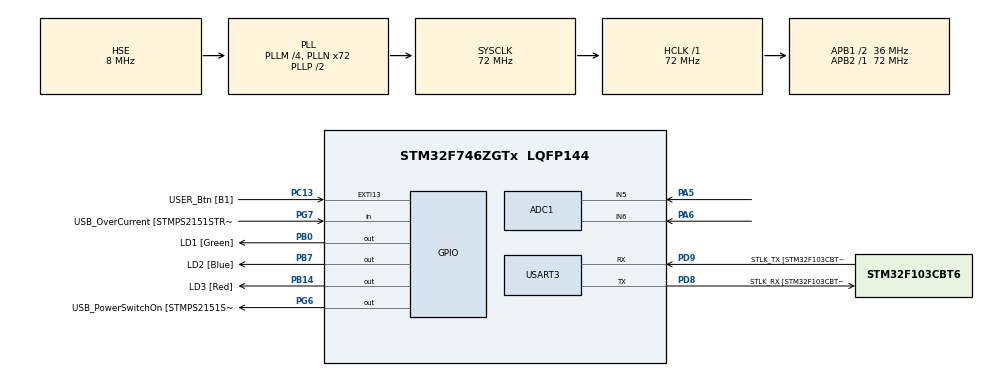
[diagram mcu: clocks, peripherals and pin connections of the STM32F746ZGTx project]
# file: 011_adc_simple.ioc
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ADC1.Channel-1\#ChannelRegularConversion=ADC_CHANNEL_5
ADC1.Channel-2\#ChannelRegularConversion=ADC_CHANNEL_6
ADC1.Channel-4\#ChannelRegularConversion=ADC_CHANNEL_TEMPSENSOR
ADC1.ContinuousConvMode=DISABLE
ADC1.DiscontinuousConvMode=ENABLE
ADC1.EOCSelection=ADC_EOC_SINGLE_CONV
ADC1.InjNumberOfConversion=0
ADC1.NbrOfConversion=3
ADC1.NbrOfConversionFlag=1
ADC1.Rank-1\#ChannelRegularConversion=1
ADC1.Rank-2\#ChannelRegularConversion=2
ADC1.Rank-4\#ChannelRegularConversion=3
ADC1.SamplingTime-1\#ChannelRegularConversion=ADC_SAMPLETIME_3CYCLES
ADC1.SamplingTime-2\#ChannelRegularConversion=ADC_SAMPLETIME_3CYCLES
ADC1.SamplingTime-4\#ChannelRegularConversion=ADC_SAMPLETIME_480CYCLES
ADC1.master=1
Mcu.Family=STM32F7
Mcu.Name=STM32F746ZGTx
Mcu.Package=LQFP144
NVIC.PriorityGroup=NVIC_PRIORITYGROUP_4
PA1.GPIO_Label=RMII_REF_CLK [LAN8742A-CZ-TR_REFCLK0]
PA1.Signal=ETH_REF_CLK
PA10.GPIO_Label=USB_ID
PA10.Signal=USB_OTG_FS_ID
PA11.GPIO_Label=USB_DM
PA11.Signal=USB_OTG_FS_DM
PA12.GPIO_Label=USB_DP
PA12.Signal=USB_OTG_FS_DP
PA13.GPIO_Label=TMS
PA13.Mode=Serial_Wire
PA13.Signal=SYS_JTMS-SWDIO
PA14.GPIO_Label=TCK
PA14.Mode=Serial_Wire
PA14.Signal=SYS_JTCK-SWCLK
PA2.GPIO_Label=RMII_MDIO [LAN8742A-CZ-TR_MDIO]
PA2.Signal=ETH_MDIO
PA5.Signal=ADCx_IN5
PA6.Signal=ADCx_IN6
PA7.GPIO_Label=RMII_CRS_DV [LAN8742A-CZ-TR_CRS_DV]
PA7.Signal=ETH_CRS_DV
PA8.GPIO_Label=USB_SOF [TP1]
PA8.Signal=USB_OTG_FS_SOF
PA9.GPIO_Label=USB_VBUS
PA9.Signal=USB_OTG_FS_VBUS
PB0.GPIO_Label=LD1 [Green]
PB0.Signal=GPIO_Output
PB13.GPIO_Label=RMII_TXD1 [LAN8742A-CZ-TR_TXD1]
PB13.Signal=ETH_TXD1
PB14.GPIO_Label=LD3 [Red]
PB14.Signal=GPIO_Output
PB3.GPIO_Label=SW0
PB3.Signal=SYS_JTDO-SWO
PB7.GPIO_Label=LD2 [Blue]
PB7.Signal=GPIO_Output
PC1.GPIO_Label=RMII_MDC [LAN8742A-CZ-TR_MDC]
PC1.Signal=ETH_MDC
PC13.GPIO_Label=USER_Btn [B1]
PC13.Signal=GPXTI13
PC14/OSC32_IN.Mode=LSE-External-Oscillator
PC14/OSC32_IN.Signal=RCC_OSC32_IN
PC15/OSC32_OUT.Mode=LSE-External-Oscillator
PC15/OSC32_OUT.Signal=RCC_OSC32_OUT
PC4.GPIO_Label=RMII_RXD0 [LAN8742A-CZ-TR_RXD0]
PC4.Signal=ETH_RXD0
PC5.GPIO_Label=RMII_RXD1 [LAN8742A-CZ-TR_RXD1]
PC5.Signal=ETH_RXD1
PD8.GPIO_Label=STLK_RX [STM32F103CBT6_PA3]
PD8.Mode=Asynchronous
PD8.Signal=USART3_TX
PD9.GPIO_Label=STLK_TX [STM32F103CBT6_PA2]
PD9.Mode=Asynchronous
PD9.Signal=USART3_RX
PG11.GPIO_Label=RMII_TX_EN [LAN8742A-CZ-TR_TXEN]
PG11.Signal=ETH_TX_EN
PG13.GPIO_Label=RMII_TXD0 [LAN8742A-CZ-TR_TXD0]
PG13.Signal=ETH_TXD0
PG6.GPIO_Label=USB_PowerSwitchOn [STMPS2151STR_EN]
PG6.Signal=GPIO_Output
PG7.GPIO_Label=USB_OverCurrent [STMPS2151STR_FAULT]
PG7.Signal=GPIO_Input
PH0/OSC_IN.GPIO_Label=MCO [STM32F103CBT6_PA8]
PH0/OSC_IN.Mode=HSE-External-Clock-Source
PH0/OSC_IN.Signal=RCC_OSC_IN
PH1/OSC_OUT.Mode=HSE-External-Clock-Source
PH1/OSC_OUT.Signal=RCC_OSC_OUT
ProjectManager.HeapSize=0x200
ProjectManager.StackSize=0x400
ProjectManager.TargetToolchain=STM32CubeIDE
RCC.48MHZClocksFreq_Value=24000000
RCC.AHBFreq_Value=72000000
RCC.APB1CLKDivider=RCC_HCLK_DIV2
RCC.APB1Freq_Value=36000000
RCC.APB1TimFreq_Value=72000000
RCC.APB2Freq_Value=72000000
RCC.APB2TimFreq_Value=72000000
RCC.CortexFreq_Value=72000000
RCC.HCLKFreq_Value=72000000
RCC.HSE_VALUE=8000000
RCC.HSI_VALUE=16000000
RCC.PLLM=4
RCC.PLLMUL=RCC_PLL_MUL9
RCC.PLLN=72
RCC.PLLQ=3
RCC.PLLSourceVirtual=RCC_PLLSOURCE_HSE
RCC.PRESCALERUSB=RCC_USBCLKSOURCE_PLL_DIV1_5
RCC.SYSCLKFreq_VALUE=72000000
RCC.SYSCLKSource=RCC_SYSCLKSOURCE_PLLCLK
RCC.SYSCLKSourceVirtual=RCC_SYSCLKSOURCE_PLLCLK
RCC.USBFreq_Value=48000000
RCC.VCOOutputFreq_Value=144000000
SH.ADCx_IN5.0=ADC1_IN5,IN5
SH.ADCx_IN6.0=ADC1_IN6,IN6
USART3.VirtualMode-Asynchronous=VM_ASYNC
VP_ADC1_TempSens_Input.Mode=IN-TempSens
board=NUCLEO-F746ZG

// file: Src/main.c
/* USER CODE BEGIN Header */
/**
  ******************************************************************************
  * @file           : main.c
  * @brief          : Main program body
  ******************************************************************************
  * @attention
  *
  * <h2><center>&copy; Copyright (c) 2020 STMicroelectronics.
  * All rights reserved.</center></h2>
  *
  * This software component is licensed by ST under BSD 3-Clause license,
  * the "License"; You may not use this file except in compliance with the
  * License. You may obtain a copy of the License at:
  *                        opensource.org/licenses/BSD-3-Clause
  *
  ******************************************************************************
  */
/* USER CODE END Header */
#include "main.h"

/* USER CODE BEGIN Includes */
#include <string.h>
#include <stdio.h>
/* USER CODE END Includes */

ADC_HandleTypeDef hadc1;

UART_HandleTypeDef huart3;

void SystemClock_Config(void);
static void MX_GPIO_Init(void);
static void MX_ADC1_Init(void);
static void MX_USART3_UART_Init(void);

int main(void)
{

  /* MCU Configuration--------------------------------------------------------*/

  /* Reset of all peripherals, Initializes the Flash interface and the Systick. */
  HAL_Init();

  /* Configure the system clock */
  SystemClock_Config();

  /* Initialize all configured peripherals */
  MX_GPIO_Init();
  MX_ADC1_Init();
  MX_USART3_UART_Init();

  /* Infinite loop */
  while (1)
  {

    /* USER CODE BEGIN 3 */
    // Note: all setup analog channels will be read in round robin fashion, enable "discontinuous mode"
    //       this is an inferior method to use of DMA and a callback function
    HAL_ADC_Start(&hadc1);
    HAL_ADC_PollForConversion(&hadc1, 10);
    uint32_t raw_result5 = HAL_ADC_GetValue(&hadc1);
    uint32_t ch5_voltage = (raw_result5 * 3300U) / 4095U;
    // Note: 4095 is the constant for 12bit right aligned mode
    HAL_ADC_Start(&hadc1);
    HAL_ADC_PollForConversion(&hadc1, 10);
    uint32_t raw_result6 = HAL_ADC_GetValue(&hadc1);
    uint32_t ch6_voltage = (raw_result6 * 3300U) / 4095U;
    HAL_ADC_Start(&hadc1);
    HAL_ADC_PollForConversion(&hadc1, 10);
    uint32_t raw_temp = HAL_ADC_GetValue(&hadc1);
    uint32_t cht_voltage = (raw_temp * 3300U) / 4095U;
    uint32_t temperature = 25 + (cht_voltage*10 - 7600U) /25; // V25 = 0.76V, avg slope = 2.5mV/C
    HAL_ADC_Stop(&hadc1); // optional, makes sure that you restart channels from the first defined

    char buffer[80];
    sprintf(buffer, "%lu\t%lu\t\t%lu\t%lu\t\t%lu\t%lu\t%lu\r\n",
            raw_result5, ch5_voltage,
            raw_result6, ch6_voltage,
            raw_temp, cht_voltage, temperature);
    HAL_UART_Transmit(&huart3, (void*)buffer, strlen(buffer), 10);
    HAL_Delay(500);
  }
  /* USER CODE END 3 */
}

void SystemClock_Config(void)
{
  RCC_OscInitTypeDef RCC_OscInitStruct = {0};
  RCC_ClkInitTypeDef RCC_ClkInitStruct = {0};

  /** Configure LSE Drive Capability
  */
  HAL_PWR_EnableBkUpAccess();
  /** Configure the main internal regulator output voltage
  */
  __HAL_RCC_PWR_CLK_ENABLE();
  __HAL_PWR_VOLTAGESCALING_CONFIG(PWR_REGULATOR_VOLTAGE_SCALE3);
  /** Initializes the RCC Oscillators according to the specified parameters
  * in the RCC_OscInitTypeDef structure.
  */
  RCC_OscInitStruct.OscillatorType = RCC_OSCILLATORTYPE_HSE;
  RCC_OscInitStruct.HSEState = RCC_HSE_BYPASS;
  RCC_OscInitStruct.PLL.PLLState = RCC_PLL_ON;
  RCC_OscInitStruct.PLL.PLLSource = RCC_PLLSOURCE_HSE;
  RCC_OscInitStruct.PLL.PLLM = 4;
  RCC_OscInitStruct.PLL.PLLN = 72;
  RCC_OscInitStruct.PLL.PLLP = RCC_PLLP_DIV2;
  RCC_OscInitStruct.PLL.PLLQ = 3;
  if (HAL_RCC_OscConfig(&RCC_OscInitStruct) != HAL_OK)
  {
    Error_Handler();
  }
  /** Initializes the CPU, AHB and APB buses clocks
  */
  RCC_ClkInitStruct.ClockType = RCC_CLOCKTYPE_HCLK|RCC_CLOCKTYPE_SYSCLK
                              |RCC_CLOCKTYPE_PCLK1|RCC_CLOCKTYPE_PCLK2;
  RCC_ClkInitStruct.SYSCLKSource = RCC_SYSCLKSOURCE_PLLCLK;
  RCC_ClkInitStruct.AHBCLKDivider = RCC_SYSCLK_DIV1;
  RCC_ClkInitStruct.APB1CLKDivider = RCC_HCLK_DIV2;
  RCC_ClkInitStruct.APB2CLKDivider = RCC_HCLK_DIV1;

  if (HAL_RCC_ClockConfig(&RCC_ClkInitStruct, FLASH_LATENCY_2) != HAL_OK)
  {
    Error_Handler();
  }
}

static void MX_ADC1_Init(void)
{

  ADC_ChannelConfTypeDef sConfig = {0};

  /** Configure the global features of the ADC (Clock, Resolution, Data Alignment and number of conversion)
  */
  hadc1.Instance = ADC1;
  hadc1.Init.ClockPrescaler = ADC_CLOCK_SYNC_PCLK_DIV2;
  hadc1.Init.Resolution = ADC_RESOLUTION_12B;
  hadc1.Init.ScanConvMode = ADC_SCAN_ENABLE;
  hadc1.Init.ContinuousConvMode = DISABLE;
  hadc1.Init.DiscontinuousConvMode = ENABLE;
  hadc1.Init.NbrOfDiscConversion = 1;
  hadc1.Init.ExternalTrigConvEdge = ADC_EXTERNALTRIGCONVEDGE_NONE;
  hadc1.Init.ExternalTrigConv = ADC_SOFTWARE_START;
  hadc1.Init.DataAlign = ADC_DATAALIGN_RIGHT;
  hadc1.Init.NbrOfConversion = 3;
  hadc1.Init.DMAContinuousRequests = DISABLE;
  hadc1.Init.EOCSelection = ADC_EOC_SINGLE_CONV;
  if (HAL_ADC_Init(&hadc1) != HAL_OK)
  {
    Error_Handler();
  }
  /** Configure for the selected ADC regular channel its corresponding rank in the sequencer and its sample time.
  */
  sConfig.Channel = ADC_CHANNEL_5;
  sConfig.Rank = ADC_REGULAR_RANK_1;
  sConfig.SamplingTime = ADC_SAMPLETIME_3CYCLES;
  if (HAL_ADC_ConfigChannel(&hadc1, &sConfig) != HAL_OK)
  {
    Error_Handler();
  }
  /** Configure for the selected ADC regular channel its corresponding rank in the sequencer and its sample time.
  */
  sConfig.Channel = ADC_CHANNEL_6;
  sConfig.Rank = ADC_REGULAR_RANK_2;
  if (HAL_ADC_ConfigChannel(&hadc1, &sConfig) != HAL_OK)
  {
    Error_Handler();
  }
  /** Configure for the selected ADC regular channel its corresponding rank in the sequencer and its sample time.
  */
  sConfig.Channel = ADC_CHANNEL_TEMPSENSOR;
  sConfig.Rank = ADC_REGULAR_RANK_3;
  sConfig.SamplingTime = ADC_SAMPLETIME_480CYCLES;
  if (HAL_ADC_ConfigChannel(&hadc1, &sConfig) != HAL_OK)
  {
    Error_Handler();
  }

}

static void MX_USART3_UART_Init(void)
{

  huart3.Instance = USART3;
  huart3.Init.BaudRate = 115200;
  huart3.Init.WordLength = UART_WORDLENGTH_8B;
  huart3.Init.StopBits = UART_STOPBITS_1;
  huart3.Init.Parity = UART_PARITY_NONE;
  huart3.Init.Mode = UART_MODE_TX_RX;
  huart3.Init.HwFlowCtl = UART_HWCONTROL_NONE;
  huart3.Init.OverSampling = UART_OVERSAMPLING_16;
  huart3.Init.OneBitSampling = UART_ONE_BIT_SAMPLE_DISABLE;
  huart3.AdvancedInit.AdvFeatureInit = UART_ADVFEATURE_NO_INIT;
  if (HAL_UART_Init(&huart3) != HAL_OK)
  {
    Error_Handler();
  }

}

static void MX_GPIO_Init(void)
{
  GPIO_InitTypeDef GPIO_InitStruct = {0};

  /* GPIO Ports Clock Enable */
  __HAL_RCC_GPIOC_CLK_ENABLE();
  __HAL_RCC_GPIOH_CLK_ENABLE();
  __HAL_RCC_GPIOA_CLK_ENABLE();
  __HAL_RCC_GPIOB_CLK_ENABLE();
  __HAL_RCC_GPIOD_CLK_ENABLE();
  __HAL_RCC_GPIOG_CLK_ENABLE();

  /*Configure GPIO pin Output Level */
  HAL_GPIO_WritePin(GPIOB, LD1_Pin|LD3_Pin|LD2_Pin, GPIO_PIN_RESET);

  /*Configure GPIO pin Output Level */
  HAL_GPIO_WritePin(USB_PowerSwitchOn_GPIO_Port, USB_PowerSwitchOn_Pin, GPIO_PIN_RESET);

  /*Configure GPIO pin : USER_Btn_Pin */
  GPIO_InitStruct.Pin = USER_Btn_Pin;
  GPIO_InitStruct.Mode = GPIO_MODE_IT_RISING;
  GPIO_InitStruct.Pull = GPIO_NOPULL;
  HAL_GPIO_Init(USER_Btn_GPIO_Port, &GPIO_InitStruct);

  /*Configure GPIO pins : RMII_MDC_Pin RMII_RXD0_Pin RMII_RXD1_Pin */
  GPIO_InitStruct.Pin = RMII_MDC_Pin|RMII_RXD0_Pin|RMII_RXD1_Pin;
  GPIO_InitStruct.Mode = GPIO_MODE_AF_PP;
  GPIO_InitStruct.Pull = GPIO_NOPULL;
  GPIO_InitStruct.Speed = GPIO_SPEED_FREQ_VERY_HIGH;
  GPIO_InitStruct.Alternate = GPIO_AF11_ETH;
  HAL_GPIO_Init(GPIOC, &GPIO_InitStruct);

  /*Configure GPIO pins : RMII_REF_CLK_Pin RMII_MDIO_Pin RMII_CRS_DV_Pin */
  GPIO_InitStruct.Pin = RMII_REF_CLK_Pin|RMII_MDIO_Pin|RMII_CRS_DV_Pin;
  GPIO_InitStruct.Mode = GPIO_MODE_AF_PP;
  GPIO_InitStruct.Pull = GPIO_NOPULL;
  GPIO_InitStruct.Speed = GPIO_SPEED_FREQ_VERY_HIGH;
  GPIO_InitStruct.Alternate = GPIO_AF11_ETH;
  HAL_GPIO_Init(GPIOA, &GPIO_InitStruct);

  /*Configure GPIO pins : LD1_Pin LD3_Pin LD2_Pin */
  GPIO_InitStruct.Pin = LD1_Pin|LD3_Pin|LD2_Pin;
  GPIO_InitStruct.Mode = GPIO_MODE_OUTPUT_PP;
  GPIO_InitStruct.Pull = GPIO_NOPULL;
  GPIO_InitStruct.Speed = GPIO_SPEED_FREQ_LOW;
  HAL_GPIO_Init(GPIOB, &GPIO_InitStruct);

  /*Configure GPIO pin : RMII_TXD1_Pin */
  GPIO_InitStruct.Pin = RMII_TXD1_Pin;
  GPIO_InitStruct.Mode = GPIO_MODE_AF_PP;
  GPIO_InitStruct.Pull = GPIO_NOPULL;
  GPIO_InitStruct.Speed = GPIO_SPEED_FREQ_VERY_HIGH;
  GPIO_InitStruct.Alternate = GPIO_AF11_ETH;
  HAL_GPIO_Init(RMII_TXD1_GPIO_Port, &GPIO_InitStruct);

  /*Configure GPIO pin : USB_PowerSwitchOn_Pin */
  GPIO_InitStruct.Pin = USB_PowerSwitchOn_Pin;
  GPIO_InitStruct.Mode = GPIO_MODE_OUTPUT_PP;
  GPIO_InitStruct.Pull = GPIO_NOPULL;
  GPIO_InitStruct.Speed = GPIO_SPEED_FREQ_LOW;
  HAL_GPIO_Init(USB_PowerSwitchOn_GPIO_Port, &GPIO_InitStruct);

  /*Configure GPIO pin : USB_OverCurrent_Pin */
  GPIO_InitStruct.Pin = USB_OverCurrent_Pin;
  GPIO_InitStruct.Mode = GPIO_MODE_INPUT;
  GPIO_InitStruct.Pull = GPIO_NOPULL;
  HAL_GPIO_Init(USB_OverCurrent_GPIO_Port, &GPIO_InitStruct);

  /*Configure GPIO pins : USB_SOF_Pin USB_ID_Pin USB_DM_Pin USB_DP_Pin */
  GPIO_InitStruct.Pin = USB_SOF_Pin|USB_ID_Pin|USB_DM_Pin|USB_DP_Pin;
  GPIO_InitStruct.Mode = GPIO_MODE_AF_PP;
  GPIO_InitStruct.Pull = GPIO_NOPULL;
  GPIO_InitStruct.Speed = GPIO_SPEED_FREQ_VERY_HIGH;
  GPIO_InitStruct.Alternate = GPIO_AF10_OTG_FS;
  HAL_GPIO_Init(GPIOA, &GPIO_InitStruct);

  /*Configure GPIO pin : USB_VBUS_Pin */
  GPIO_InitStruct.Pin = USB_VBUS_Pin;
  GPIO_InitStruct.Mode = GPIO_MODE_INPUT;
  GPIO_InitStruct.Pull = GPIO_NOPULL;
  HAL_GPIO_Init(USB_VBUS_GPIO_Port, &GPIO_InitStruct);

  /*Configure GPIO pins : RMII_TX_EN_Pin RMII_TXD0_Pin */
  GPIO_InitStruct.Pin = RMII_TX_EN_Pin|RMII_TXD0_Pin;
  GPIO_InitStruct.Mode = GPIO_MODE_AF_PP;
  GPIO_InitStruct.Pull = GPIO_NOPULL;
  GPIO_InitStruct.Speed = GPIO_SPEED_FREQ_VERY_HIGH;
  GPIO_InitStruct.Alternate = GPIO_AF11_ETH;
  HAL_GPIO_Init(GPIOG, &GPIO_InitStruct);

}

void Error_Handler(void)
{
}
